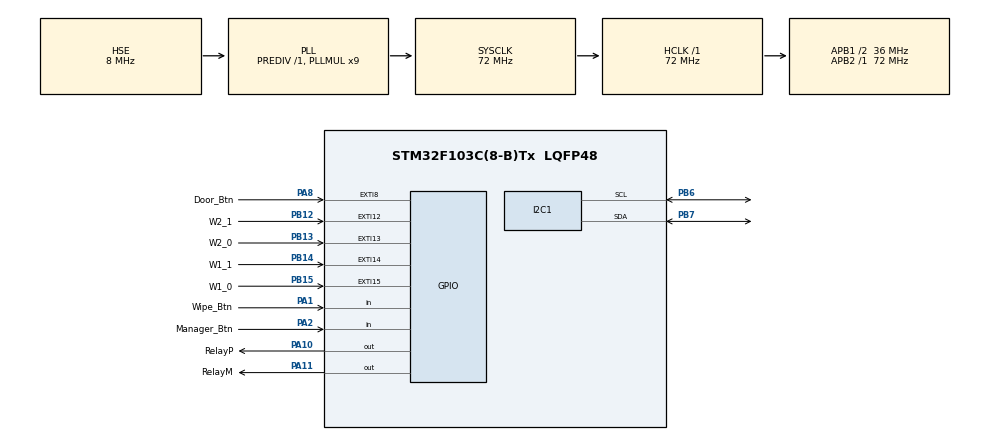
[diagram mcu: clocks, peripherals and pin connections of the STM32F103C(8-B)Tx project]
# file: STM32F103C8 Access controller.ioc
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Mcu.Family=STM32F1
Mcu.Name=STM32F103C(8-B)Tx
Mcu.Package=LQFP48
NVIC.EXTI15_10_IRQn=true\:1\:0\:true\:false\:true\:true\:true\:true
NVIC.EXTI9_5_IRQn=true\:1\:0\:true\:false\:true\:true\:true\:true
NVIC.PriorityGroup=NVIC_PRIORITYGROUP_4
NVIC.TIM2_IRQn=true\:3\:0\:true\:false\:true\:true\:true\:true
PA1.GPIO_Label=Wipe_Btn
PA1.GPIO_PuPd=GPIO_PULLUP
PA1.Signal=GPIO_Input
PA10.GPIO_Label=RelayP
PA10.Signal=GPIO_Output
PA11.GPIO_Label=RelayM
PA11.PinState=GPIO_PIN_SET
PA11.Signal=GPIO_Output
PA13.Mode=Serial_Wire
PA13.Signal=SYS_JTMS-SWDIO
PA14.Mode=Serial_Wire
PA14.Signal=SYS_JTCK-SWCLK
PA2.GPIO_Label=Manager_Btn
PA2.GPIO_PuPd=GPIO_PULLUP
PA2.Signal=GPIO_Input
PA8.GPIO_Label=Door_Btn
PA8.GPIO_ModeDefaultEXTI=GPIO_MODE_IT_FALLING
PA8.GPIO_PuPd=GPIO_PULLUP
PA8.Signal=GPXTI8
PB12.GPIO_Label=W2_1
PB12.GPIO_ModeDefaultEXTI=GPIO_MODE_IT_FALLING
PB12.GPIO_PuPd=GPIO_PULLUP
PB12.Signal=GPXTI12
PB13.GPIO_Label=W2_0
PB13.GPIO_ModeDefaultEXTI=GPIO_MODE_IT_FALLING
PB13.GPIO_PuPd=GPIO_PULLUP
PB13.Signal=GPXTI13
PB14.GPIO_Label=W1_1
PB14.GPIO_ModeDefaultEXTI=GPIO_MODE_IT_FALLING
PB14.GPIO_PuPd=GPIO_PULLUP
PB14.Signal=GPXTI14
PB15.GPIO_Label=W1_0
PB15.GPIO_ModeDefaultEXTI=GPIO_MODE_IT_FALLING
PB15.GPIO_PuPd=GPIO_PULLUP
PB15.Signal=GPXTI15
PB6.Mode=I2C
PB6.Signal=I2C1_SCL
PB7.Mode=I2C
PB7.Signal=I2C1_SDA
PD0-OSC_IN.Mode=HSE-External-Oscillator
PD0-OSC_IN.Signal=RCC_OSC_IN
PD1-OSC_OUT.Mode=HSE-External-Oscillator
PD1-OSC_OUT.Signal=RCC_OSC_OUT
ProjectManager.HeapSize=0x200
ProjectManager.StackSize=0x400
ProjectManager.TargetToolchain=MDK-ARM V5.32
RCC.AHBFreq_Value=72000000
RCC.APB1CLKDivider=RCC_HCLK_DIV2
RCC.APB1Freq_Value=36000000
RCC.APB1TimFreq_Value=72000000
RCC.APB2Freq_Value=72000000
RCC.APB2TimFreq_Value=72000000
RCC.HCLKFreq_Value=72000000
RCC.PLLMUL=RCC_PLL_MUL9
RCC.PLLSourceVirtual=RCC_PLLSOURCE_HSE
RCC.SYSCLKFreq_VALUE=72000000
RCC.SYSCLKSource=RCC_SYSCLKSOURCE_PLLCLK
RCC.USBFreq_Value=72000000
TIM2.Period=10
TIM2.Prescaler=7200
VP_TIM2_VS_ClockSourceINT.Mode=Internal
board=custom

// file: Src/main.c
/* USER CODE BEGIN Header */
/**
  ******************************************************************************
  * @file           : main.c
  * @brief          : Main program body
  ******************************************************************************
  * @attention
  *
  * Copyright (c) 2022 STMicroelectronics.
  * All rights reserved.
  *
  * This software is licensed under terms that can be found in the LICENSE file
  * in the root directory of this software component.
  * If no LICENSE file comes with this software, it is provided AS-IS.
  *
  ******************************************************************************
  */
/* USER CODE END Header */
#include "main.h"

/* USER CODE BEGIN Includes */
#include "eeprom.h"
/* USER CODE END Includes */

/* USER CODE BEGIN PD */
#define DOOR_TIME 1000
/* USER CODE END PD */

 I2C_HandleTypeDef hi2c1;

TIM_HandleTypeDef htim2;

/* USER CODE BEGIN PV */
bool MasterMode, Master_add;
uint8_t ID1[26], ID2[26], StoredID[26], IsMaster, data[65],
				MasterCard[4], numb_of_cards, numb_of_pages, mul_pages,
				id1bit, id2bit, hexid[4], readID[4],
				counter1, counter2, btn_time;
uint32_t MasterTime, Relay_Time, ct;
uint16_t btn1, btn2;
/* USER CODE END PV */

void SystemClock_Config(void);
static void MX_GPIO_Init(void);
static void MX_I2C1_Init(void);
static void MX_TIM2_Init(void);
/* USER CODE BEGIN PFP */
void HAL_TIM_PeriodElapsedCallback(TIM_HandleTypeDef *htim);
void FullID(uint8_t ID[26]);
void Check_ID(uint8_t ID[26]);
void Door_open(void);
/* USER CODE END PFP */

int main(void)
{

  /* MCU Configuration--------------------------------------------------------*/

  /* Reset of all peripherals, Initializes the Flash interface and the Systick. */
  HAL_Init();

  /* Configure the system clock */
  SystemClock_Config();

  /* Initialize all configured peripherals */
  MX_GPIO_Init();
  MX_I2C1_Init();
  MX_TIM2_Init();
  /* USER CODE BEGIN 2 */
	HAL_TIM_Base_Start_IT(&htim2);
	HAL_Delay(100);
	memset(data,0xFF,64);

	EEPROM_Read(0, 1, &IsMaster, 1);
	if(IsMaster!=1){
		Master_add=true;
	}
	else(EEPROM_Read(0, 2, MasterCard, 3));
	EEPROM_Read(0, 6, &numb_of_cards, 1);
	EEPROM_Read(0, 7, &numb_of_pages, 1);
	EEPROM_Read(0, 8, &mul_pages, 1);
	if(numb_of_cards==0xFF){
		numb_of_cards=0;
		EEPROM_Write(0, 6, &numb_of_cards, 1);
	}
	if(numb_of_pages==0xFF){
		numb_of_pages=0;
		EEPROM_Write(0, 7, &numb_of_pages, 1);
	}
	if(mul_pages==0xFF){
		mul_pages=1;
		EEPROM_Write(0, 8, &mul_pages, 1);
	}
  /* USER CODE END 2 */

  /* Infinite loop */
  /* USER CODE BEGIN WHILE */
  while (1)
  {
	while(HAL_GPIO_ReadPin(Manager_Btn_GPIO_Port, Manager_Btn_Pin)==GPIO_PIN_RESET){
		btn1++;
		HAL_Delay(100);
		if(btn1==30){ Master_add=true;
		}
	} btn1=0;
	while(HAL_GPIO_ReadPin(Wipe_Btn_GPIO_Port, Wipe_Btn_Pin)==GPIO_PIN_RESET){
		btn2++;
		HAL_Delay(100);
		if(btn2==30){
			for (uint16_t i=1; i<=numb_of_pages*mul_pages+1; i++)
			{
				EEPROM_PageErase(i);
			}
			numb_of_cards=0;
			numb_of_pages=0;
			mul_pages=1;
			EEPROM_Write(0, 6, data, 1);
			EEPROM_Write(0, 7, data, 1);
			EEPROM_Write(0, 8, &mul_pages, 1);
		}
	} btn2=0;
    /* USER CODE END WHILE */

  }
}

void SystemClock_Config(void)
{
  RCC_OscInitTypeDef RCC_OscInitStruct = {0};
  RCC_ClkInitTypeDef RCC_ClkInitStruct = {0};

  /** Initializes the RCC Oscillators according to the specified parameters
  * in the RCC_OscInitTypeDef structure.
  */
  RCC_OscInitStruct.OscillatorType = RCC_OSCILLATORTYPE_HSE;
  RCC_OscInitStruct.HSEState = RCC_HSE_ON;
  RCC_OscInitStruct.HSEPredivValue = RCC_HSE_PREDIV_DIV1;
  RCC_OscInitStruct.HSIState = RCC_HSI_ON;
  RCC_OscInitStruct.PLL.PLLState = RCC_PLL_ON;
  RCC_OscInitStruct.PLL.PLLSource = RCC_PLLSOURCE_HSE;
  RCC_OscInitStruct.PLL.PLLMUL = RCC_PLL_MUL9;
  if (HAL_RCC_OscConfig(&RCC_OscInitStruct) != HAL_OK)
  {
    Error_Handler();
  }

  /** Initializes the CPU, AHB and APB buses clocks
  */
  RCC_ClkInitStruct.ClockType = RCC_CLOCKTYPE_HCLK|RCC_CLOCKTYPE_SYSCLK
                              |RCC_CLOCKTYPE_PCLK1|RCC_CLOCKTYPE_PCLK2;
  RCC_ClkInitStruct.SYSCLKSource = RCC_SYSCLKSOURCE_PLLCLK;
  RCC_ClkInitStruct.AHBCLKDivider = RCC_SYSCLK_DIV1;
  RCC_ClkInitStruct.APB1CLKDivider = RCC_HCLK_DIV2;
  RCC_ClkInitStruct.APB2CLKDivider = RCC_HCLK_DIV1;

  if (HAL_RCC_ClockConfig(&RCC_ClkInitStruct, FLASH_LATENCY_2) != HAL_OK)
  {
    Error_Handler();
  }
}

static void MX_I2C1_Init(void)
{

  hi2c1.Instance = I2C1;
  hi2c1.Init.ClockSpeed = 100000;
  hi2c1.Init.DutyCycle = I2C_DUTYCYCLE_2;
  hi2c1.Init.OwnAddress1 = 0;
  hi2c1.Init.AddressingMode = I2C_ADDRESSINGMODE_7BIT;
  hi2c1.Init.DualAddressMode = I2C_DUALADDRESS_DISABLE;
  hi2c1.Init.OwnAddress2 = 0;
  hi2c1.Init.GeneralCallMode = I2C_GENERALCALL_DISABLE;
  hi2c1.Init.NoStretchMode = I2C_NOSTRETCH_DISABLE;
  if (HAL_I2C_Init(&hi2c1) != HAL_OK)
  {
    Error_Handler();
  }

}

static void MX_TIM2_Init(void)
{

  TIM_ClockConfigTypeDef sClockSourceConfig = {0};
  TIM_MasterConfigTypeDef sMasterConfig = {0};

  htim2.Instance = TIM2;
  htim2.Init.Prescaler = 7200;
  htim2.Init.CounterMode = TIM_COUNTERMODE_UP;
  htim2.Init.Period = 10;
  htim2.Init.ClockDivision = TIM_CLOCKDIVISION_DIV1;
  htim2.Init.AutoReloadPreload = TIM_AUTORELOAD_PRELOAD_DISABLE;
  if (HAL_TIM_Base_Init(&htim2) != HAL_OK)
  {
    Error_Handler();
  }
  sClockSourceConfig.ClockSource = TIM_CLOCKSOURCE_INTERNAL;
  if (HAL_TIM_ConfigClockSource(&htim2, &sClockSourceConfig) != HAL_OK)
  {
    Error_Handler();
  }
  sMasterConfig.MasterOutputTrigger = TIM_TRGO_RESET;
  sMasterConfig.MasterSlaveMode = TIM_MASTERSLAVEMODE_DISABLE;
  if (HAL_TIMEx_MasterConfigSynchronization(&htim2, &sMasterConfig) != HAL_OK)
  {
    Error_Handler();
  }

}

static void MX_GPIO_Init(void)
{
  GPIO_InitTypeDef GPIO_InitStruct = {0};

  /* GPIO Ports Clock Enable */
  __HAL_RCC_GPIOC_CLK_ENABLE();
  __HAL_RCC_GPIOD_CLK_ENABLE();
  __HAL_RCC_GPIOA_CLK_ENABLE();
  __HAL_RCC_GPIOB_CLK_ENABLE();

  /*Configure GPIO pin Output Level */
  HAL_GPIO_WritePin(GPIOA, GPIO_PIN_10, GPIO_PIN_RESET);

  /*Configure GPIO pin Output Level */
  HAL_GPIO_WritePin(GPIOA, GPIO_PIN_11, GPIO_PIN_SET);

  /*Configure GPIO pins : PC13 PC14 PC15 */
  GPIO_InitStruct.Pin = GPIO_PIN_13|GPIO_PIN_14|GPIO_PIN_15;
  GPIO_InitStruct.Mode = GPIO_MODE_ANALOG;
  HAL_GPIO_Init(GPIOC, &GPIO_InitStruct);

  /*Configure GPIO pins : PA0 PA3 PA4 PA5
                           PA6 PA7 PA9 PA12
                           PA15 */
  GPIO_InitStruct.Pin = GPIO_PIN_0|GPIO_PIN_3|GPIO_PIN_4|GPIO_PIN_5
                          |GPIO_PIN_6|GPIO_PIN_7|GPIO_PIN_9|GPIO_PIN_12
                          |GPIO_PIN_15;
  GPIO_InitStruct.Mode = GPIO_MODE_ANALOG;
  HAL_GPIO_Init(GPIOA, &GPIO_InitStruct);

  /*Configure GPIO pins : PA1 PA2 */
  GPIO_InitStruct.Pin = GPIO_PIN_1|GPIO_PIN_2;
  GPIO_InitStruct.Mode = GPIO_MODE_INPUT;
  GPIO_InitStruct.Pull = GPIO_PULLUP;
  HAL_GPIO_Init(GPIOA, &GPIO_InitStruct);

  /*Configure GPIO pins : PB0 PB1 PB2 PB10
                           PB11 PB3 PB4 PB5
                           PB8 PB9 */
  GPIO_InitStruct.Pin = GPIO_PIN_0|GPIO_PIN_1|GPIO_PIN_2|GPIO_PIN_10
                          |GPIO_PIN_11|GPIO_PIN_3|GPIO_PIN_4|GPIO_PIN_5
                          |GPIO_PIN_8|GPIO_PIN_9;
  GPIO_InitStruct.Mode = GPIO_MODE_ANALOG;
  HAL_GPIO_Init(GPIOB, &GPIO_InitStruct);

  /*Configure GPIO pins : PB12 PB13 PB14 PB15 */
  GPIO_InitStruct.Pin = GPIO_PIN_12|GPIO_PIN_13|GPIO_PIN_14|GPIO_PIN_15;
  GPIO_InitStruct.Mode = GPIO_MODE_IT_FALLING;
  GPIO_InitStruct.Pull = GPIO_PULLUP;
  HAL_GPIO_Init(GPIOB, &GPIO_InitStruct);

  /*Configure GPIO pin : PA8 */
  GPIO_InitStruct.Pin = GPIO_PIN_8;
  GPIO_InitStruct.Mode = GPIO_MODE_IT_FALLING;
  GPIO_InitStruct.Pull = GPIO_PULLUP;
  HAL_GPIO_Init(GPIOA, &GPIO_InitStruct);

  /*Configure GPIO pins : PA10 PA11 */
  GPIO_InitStruct.Pin = GPIO_PIN_10|GPIO_PIN_11;
  GPIO_InitStruct.Mode = GPIO_MODE_OUTPUT_PP;
  GPIO_InitStruct.Pull = GPIO_NOPULL;
  GPIO_InitStruct.Speed = GPIO_SPEED_FREQ_LOW;
  HAL_GPIO_Init(GPIOA, &GPIO_InitStruct);

  /* EXTI interrupt init*/
  HAL_NVIC_SetPriority(EXTI9_5_IRQn, 1, 0);
  HAL_NVIC_EnableIRQ(EXTI9_5_IRQn);

  HAL_NVIC_SetPriority(EXTI15_10_IRQn, 1, 0);
  HAL_NVIC_EnableIRQ(EXTI15_10_IRQn);

}

/* USER CODE BEGIN 4 */
/**
  * @brief Interrupt callback function, opens door on button press and receives wiegand data
  * 			 If door button is pressed function jumps into Door_open function,
	*        If full wiegand data is received function adds 1 or 0 to IDX array
	*	@retval none
  */
void HAL_GPIO_EXTI_Callback(uint16_t GPIO_Pin){
	switch(GPIO_Pin){
		case Door_Btn_Pin:
			Door_open();
			break;
		case W1_0_Pin:
			ID1[id1bit] = 0;
			id1bit++;
			counter1=0;
			break;
		case W1_1_Pin:
			ID1[id1bit] = 1;
			id1bit++;
			counter1=0;
			break;
		case W2_0_Pin:
			ID2[id2bit] = 0;
			id2bit++;
			counter2=0;
			break;
		case W2_1_Pin:
			ID2[id2bit] = 1;
			id2bit++;
			counter2=0;
			break;
	}
}

/**
  * @brief Calls back every 10ms,
  * 			 If full wiegand data is received sends it into FULLID function,
	*				 Handles delay for open door
	*			 	 Turns off mastermode after 3 seconds
	* @param DOOR_TIME defines time door stays open
  * @retval None
  */
void HAL_TIM_PeriodElapsedCallback(TIM_HandleTypeDef *htim){
	counter1++;
	counter2++;
	MasterTime++;
	Relay_Time++;
	if(Relay_Time >= DOOR_TIME){
		HAL_GPIO_WritePin(RelayM_GPIO_Port, RelayM_Pin, GPIO_PIN_SET);
   	HAL_GPIO_WritePin(RelayP_GPIO_Port, RelayP_Pin, GPIO_PIN_RESET);
	}
	if(counter1 == 10){
			if(id1bit>25){
			FullID(ID1);
			}
			id1bit=0;
			counter1=0;
		}
	if(counter2 == 10){
			if(id2bit>25){
		  FullID(ID2);
			}
			counter2=0;
			id2bit=0;
		}
	if(MasterMode==true && MasterTime>=3000)
		MasterMode=false;
}

/**
  * @brief Called after wiegand reception ends
  * @param ID[26] 26 byte's received from wiegand
	* @note goto is used to quickly exit nested for loops
  * @retval None
  */
void FullID(uint8_t ID[26]){
	uint8_t j, i, one=1;
		for(i=0; i<3; i++){
        for(j = 0; j <8; j++){
            hexid[i] |= (ID[j+1+i*8]<<j);
			}
		}
	if(Master_add==true){
		EEPROM_Write(0, 2, hexid, 4);
		EEPROM_Write(0, 1, &one, 1);
 		Master_add=false;
		memcpy(MasterCard, hexid, 4);
		EEPROM_Read(0, 2, readID, 4);
	}
	else if(MasterMode==true){
		for (uint16_t i=1; i<=numb_of_pages*mul_pages+1; i++){
			for (uint8_t j=0; j<16; j++){
				EEPROM_Read(i, j*4, readID, 4);
					if(!memcmp(hexid, readID, 4)){
						EEPROM_Write(i, j*4, data, 4);
						MasterTime=0;
						goto end;
					}
				}
			}
		EEPROM_Write(1+numb_of_pages*mul_pages, numb_of_cards*4, hexid, 4);
			numb_of_cards++;
			if(numb_of_cards==16){
			numb_of_cards=0;
			numb_of_pages++;
				if(numb_of_pages==0xFF){
					mul_pages=2;
					numb_of_pages=0;
					EEPROM_Write(0, 8, &mul_pages, 1);
				}
			EEPROM_Write(0, 6, &numb_of_cards, 1);
			EEPROM_Write(0, 7, &numb_of_pages, 1);
			} else
			EEPROM_Write(0, 6, &numb_of_cards, 1);
		MasterTime=0;
		}

	if(!memcmp(MasterCard,hexid,4)){
			MasterMode=true;
			MasterTime=0;
		}
	else {
		for (uint16_t i=1; i<=numb_of_pages*mul_pages+1; i++){
		for (uint8_t j=0; j<16; j++){
			EEPROM_Read(i, j*4, readID, 4);
				if(!memcmp(hexid, readID, 4)){
				  Door_open();
					goto end;
					}
				}
			}
		}
	end:	memset(hexid, 0, 4);
}

/**
  * @brief switches polarity of RelayX pins
  * @param None
  * @retval None
	* @note Pins auto-reset after from timer callback after defined time
  */
void Door_open(){
		Relay_Time=0;
		HAL_GPIO_WritePin(RelayM_GPIO_Port, RelayM_Pin, GPIO_PIN_RESET);
   	HAL_GPIO_WritePin(RelayP_GPIO_Port, RelayP_Pin, GPIO_PIN_SET);
}
/* USER CODE END 4 */

void Error_Handler(void)
{
  __disable_irq();
  while (1)
  {
  }
}
